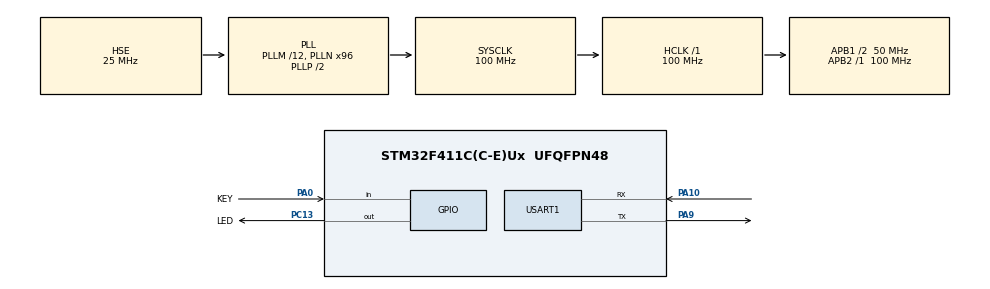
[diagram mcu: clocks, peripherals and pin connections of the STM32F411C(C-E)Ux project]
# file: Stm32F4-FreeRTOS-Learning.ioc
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FREERTOS.Tasks01=defaultTask,24,128,StartDefaultTask,Default,NULL,Dynamic,NULL,NULL
Mcu.Family=STM32F4
Mcu.Name=STM32F411C(C-E)Ux
Mcu.Package=UFQFPN48
NVIC.PriorityGroup=NVIC_PRIORITYGROUP_4
NVIC.TIM1_UP_TIM10_IRQn=true\:15\:0\:false\:false\:true\:false\:false\:true\:true
NVIC.TimeBase=TIM1_UP_TIM10_IRQn
NVIC.TimeBaseIP=TIM1
PA0-WKUP.GPIO_Label=KEY
PA0-WKUP.GPIO_PuPd=GPIO_PULLUP
PA0-WKUP.Signal=GPIO_Input
PA10.Mode=Asynchronous
PA10.Signal=USART1_RX
PA13.Mode=Serial_Wire
PA13.Signal=SYS_JTMS-SWDIO
PA14.Mode=Serial_Wire
PA14.Signal=SYS_JTCK-SWCLK
PA9.Mode=Asynchronous
PA9.Signal=USART1_TX
PC13-ANTI_TAMP.GPIO_Label=LED
PC13-ANTI_TAMP.Signal=GPIO_Output
PC14-OSC32_IN.Mode=LSE-External-Oscillator
PC14-OSC32_IN.Signal=RCC_OSC32_IN
PC15-OSC32_OUT.Mode=LSE-External-Oscillator
PC15-OSC32_OUT.Signal=RCC_OSC32_OUT
PH0\ -\ OSC_IN.Mode=HSE-External-Oscillator
PH0\ -\ OSC_IN.Signal=RCC_OSC_IN
PH1\ -\ OSC_OUT.Mode=HSE-External-Oscillator
PH1\ -\ OSC_OUT.Signal=RCC_OSC_OUT
ProjectManager.HeapSize=0x200
ProjectManager.StackSize=0x400
ProjectManager.TargetToolchain=MDK-ARM V5.32
RCC.48MHZClocksFreq_Value=50000000
RCC.AHBFreq_Value=100000000
RCC.APB1CLKDivider=RCC_HCLK_DIV2
RCC.APB1Freq_Value=50000000
RCC.APB1TimFreq_Value=100000000
RCC.APB2Freq_Value=100000000
RCC.APB2TimFreq_Value=100000000
RCC.CortexFreq_Value=100000000
RCC.HCLKFreq_Value=100000000
RCC.HSE_VALUE=25000000
RCC.HSI_VALUE=16000000
RCC.PLLM=12
RCC.PLLN=96
RCC.PLLSourceVirtual=RCC_PLLSOURCE_HSE
RCC.SYSCLKFreq_VALUE=100000000
RCC.SYSCLKSource=RCC_SYSCLKSOURCE_PLLCLK
RCC.VCOOutputFreq_Value=200000000
USART1.VirtualMode=VM_ASYNC
VP_FREERTOS_VS_CMSIS_V2.Mode=CMSIS_V2
VP_SYS_VS_tim1.Mode=TIM1
board=custom

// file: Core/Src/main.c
/* USER CODE BEGIN Header */
/**
  ******************************************************************************
  * @file           : main.c
  * @brief          : Main program body
  ******************************************************************************
  * @attention
  *
  * Copyright (c) 2026 STMicroelectronics.
  * All rights reserved.
  *
  * This software is licensed under terms that can be found in the LICENSE file
  * in the root directory of this software component.
  * If no LICENSE file comes with this software, it is provided AS-IS.
  *
  ******************************************************************************
  */
/* USER CODE END Header */
#include "main.h"
#include "cmsis_os.h"
#include "usart.h"
#include "gpio.h"

/* USER CODE BEGIN Includes */
#include "DebugUtils.h"
/* USER CODE END Includes */

void SystemClock_Config(void);
void MX_FREERTOS_Init(void);

int main(void)
{

  /* MCU Configuration--------------------------------------------------------*/

  /* Reset of all peripherals, Initializes the Flash interface and the Systick. */
  HAL_Init();

  /* Configure the system clock */
  SystemClock_Config();

  /* Initialize all configured peripherals */
  MX_GPIO_Init();
  MX_USART1_UART_Init();

  /* Init scheduler */
  osKernelInitialize();  /* Call init function for freertos objects (in freertos.c) */

    uart_mutex = xSemaphoreCreateMutex();

  MX_FREERTOS_Init();

  /* Start scheduler */
  osKernelStart();
  /* We should never get here as control is now taken by the scheduler */
  /* Infinite loop */
  while (1)
  {

  }
}

void SystemClock_Config(void)
{
  RCC_OscInitTypeDef RCC_OscInitStruct = {0};
  RCC_ClkInitTypeDef RCC_ClkInitStruct = {0};

  /** Configure the main internal regulator output voltage
  */
  __HAL_RCC_PWR_CLK_ENABLE();
  __HAL_PWR_VOLTAGESCALING_CONFIG(PWR_REGULATOR_VOLTAGE_SCALE1);

  /** Initializes the RCC Oscillators according to the specified parameters
  * in the RCC_OscInitTypeDef structure.
  */
  RCC_OscInitStruct.OscillatorType = RCC_OSCILLATORTYPE_HSE;
  RCC_OscInitStruct.HSEState = RCC_HSE_ON;
  RCC_OscInitStruct.PLL.PLLState = RCC_PLL_ON;
  RCC_OscInitStruct.PLL.PLLSource = RCC_PLLSOURCE_HSE;
  RCC_OscInitStruct.PLL.PLLM = 12;
  RCC_OscInitStruct.PLL.PLLN = 96;
  RCC_OscInitStruct.PLL.PLLP = RCC_PLLP_DIV2;
  RCC_OscInitStruct.PLL.PLLQ = 4;
  if (HAL_RCC_OscConfig(&RCC_OscInitStruct) != HAL_OK)
  {
    Error_Handler();
  }

  /** Initializes the CPU, AHB and APB buses clocks
  */
  RCC_ClkInitStruct.ClockType = RCC_CLOCKTYPE_HCLK|RCC_CLOCKTYPE_SYSCLK
                              |RCC_CLOCKTYPE_PCLK1|RCC_CLOCKTYPE_PCLK2;
  RCC_ClkInitStruct.SYSCLKSource = RCC_SYSCLKSOURCE_PLLCLK;
  RCC_ClkInitStruct.AHBCLKDivider = RCC_SYSCLK_DIV1;
  RCC_ClkInitStruct.APB1CLKDivider = RCC_HCLK_DIV2;
  RCC_ClkInitStruct.APB2CLKDivider = RCC_HCLK_DIV1;

  if (HAL_RCC_ClockConfig(&RCC_ClkInitStruct, FLASH_LATENCY_3) != HAL_OK)
  {
    Error_Handler();
  }
}

void HAL_TIM_PeriodElapsedCallback(TIM_HandleTypeDef *htim)
{
  if (htim->Instance == TIM1) {
    HAL_IncTick();
  }
}

void Error_Handler(void)
{
  __disable_irq();
  while (1)
  {
  }
}

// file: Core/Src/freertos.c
/* USER CODE BEGIN Header */
/**
  ******************************************************************************
  * File Name          : freertos.c
  * Description        : Code for freertos applications
  ******************************************************************************
  * @attention
  *
  * Copyright (c) 2026 STMicroelectronics.
  * All rights reserved.
  *
  * This software is licensed under terms that can be found in the LICENSE file
  * in the root directory of this software component.
  * If no LICENSE file comes with this software, it is provided AS-IS.
  *
  ******************************************************************************
  */
/* USER CODE END Header */

#include "FreeRTOS.h"
#include "task.h"
#include "main.h"
#include "cmsis_os.h"

/* USER CODE BEGIN Includes */
#include "queue.h"
#include "semphr.h"
#include <stdint.h>

#include "KeyLedStateMachine.h"
#include "DebugUtils.h"

/* USER CODE END Includes */

/* USER CODE BEGIN Variables */

QueueHandle_t Queue_Key_Cmd = NULL ;
QueueHandle_t Queue_Cmd_Led = NULL ;

/* USER CODE END Variables */
/* Definitions for defaultTask */
osThreadId_t defaultTaskHandle;
const osThreadAttr_t defaultTask_attributes = {
  .name = "defaultTask",
  .stack_size = 128 * 4,
  .priority = (osPriority_t) osPriorityNormal,
};

/* USER CODE BEGIN FunctionPrototypes */

void KeyTask( void  );
void LedTask( void  );
void KeyCmdTask( void );

/* USER CODE END FunctionPrototypes */

void StartDefaultTask(void *argument);

void MX_FREERTOS_Init(void); /* (MISRA C 2004 rule 8.1) */

void MX_FREERTOS_Init(void) {

  /* USER CODE BEGIN RTOS_QUEUES */
    // communicate between led and key
    Queue_Key_Cmd = xQueueCreate( (UBaseType_t)10, sizeof(uint8_t) );
    if( NULL == Queue_Key_Cmd )
    {
        printf(" Queue_Key_Cmd queue create FAIL! \n ");
    }

    Queue_Cmd_Led = xQueueCreate( (UBaseType_t)10, sizeof(uint8_t) );
    if( NULL == Queue_Cmd_Led )
    {
        printf(" Queue_Cmd_Led queue create FAIL! \n ");
    }

  /* USER CODE END RTOS_QUEUES */

  /* Create the thread(s) */
  /* creation of defaultTask */
  defaultTaskHandle = osThreadNew(StartDefaultTask, NULL, &defaultTask_attributes);

  /* USER CODE BEGIN RTOS_THREADS */
  /* add threads, ... */
    // create tasks
    // 按键状态任务
    BaseType_t  key = xTaskCreate( KeyTask,
                                    " Key control LED ",
                                    1000,
                                    NULL,
                                    1,
                                    NULL );
    if(  pdPASS == key )
    {
        printf("KeyTask create SUCCESS! \n");
    }
    else{
        printf("KeyTask create FAIL! \n");
    }

    // LED 亮灭任务
    BaseType_t Led = xTaskCreate( LedTask,
                                    " LED flash ",
                                    1000,
                                    NULL,
                                    2,
                                    NULL );
    if(  pdPASS == Led )
    {
        printf("LedTask create SUCCESS! \n");
    }
    else{
        printf("LedTask create FAIL! \n");
    }

    // 按键 命令 任务
    BaseType_t KeyCmd = xTaskCreate( KeyCmdTask,
                                    " Key Cmd ",
                                    1000,
                                    NULL,
                                    3,
                                    NULL );
    if(  pdPASS == KeyCmd )
    {
        printf("KeyCmdTask create SUCCESS! \n");
    }
    else{
        printf("KeyCmdTask create FAIL! \n");
    }

  /* USER CODE END RTOS_THREADS */

}

void StartDefaultTask(void *argument)
{
  /* USER CODE BEGIN StartDefaultTask */
  /* Infinite loop */
  for(;;)
  {

        vTaskDelay(500);
  }
  /* USER CODE END StartDefaultTask */
}

/* USER CODE BEGIN Application */

/**
 * @brief Key check function
 *      按键基本的动作分解，分类出不同的按键动作和命令类型：
 *          短按、长按、连按多次等
 *
 * 以电平作为判断或者以状态作为判断
 */
void KeyTask( void  )
{
    DEBUG_PRINT("KeyTask ! \n ") ;       // 该方式会附带详细路径和行号
    for(;;)
    {
        // 时长和次数，基本单元开始
        KeyCMD_t key_cmd_status = eKEY_CMD_IDLE;

        static GPIO_PinState Key_last_level = GPIO_PIN_SET;    /* Key_last_level 必须加 static（或者提升为全局/模块级静态变量），
                                                                否则它在每次进入 for(;;) 循环时都会被重新初始化为 1，
                                                                永远记不住“上一个周期的电平”，按键检测就废了。 */
        static uint8_t key_press_times = 0 ;        // 按键按下次数
        static uint8_t key_gap_ms = 0 ;             // 按键间隔时长
        keyState_t key_last_state = eKEY_IDLE ;
        static uint32_t press_ms = 0 ;

        GPIO_PinState Key_current_level = HAL_GPIO_ReadPin(KEY_GPIO_Port,  KEY_Pin );

        if( GPIO_PIN_SET == (Key_last_level) )      // 上一帧为高电平
        {
            if( Key_current_level == GPIO_PIN_RESET )   // 当前帧为低电平
            {
                // 按键按下
                press_ms = press_ms + 10 ;
                printf(" KEY short press down! \n ");
            }
            else
            {
                // 按键未按下， 或者抖动中
            }
        }
        else                                            // 上一帧为低电平
        {
            vTaskDelay(10);
            if( Key_current_level == GPIO_PIN_RESET )
            {
                // 按键按下中
                press_ms = press_ms + 10 ;
            }
            else                                        // 当前帧为高电平
            {
                vTaskDelay(10);     // 消抖后需要重读电平
                if( GPIO_PIN_SET != HAL_GPIO_ReadPin(KEY_GPIO_Port,  KEY_Pin ) )
                {
                    break;
                }
                // 按键弹起
                press_ms = press_ms + 10 ;
                if(  press_ms >= 0  && press_ms < 1000 )
                {
                    // 短按
                    // printf(" KEY short press! \n ");
                    DEBUG_PRINT("KEY short press! \n ") ;       // 该方式会附带详细路径和行号
                    key_cmd_status = eKEY_CMD_PRESS ;       // 单击
                    xQueueSendToBack( Queue_Key_Cmd, &key_cmd_status , 100 ) ;
                    press_ms = 0 ;

                    key_press_times++;
                    key_gap_ms++;       //  这里如果要精确的计时，需要使用定时器或者是知道时间片长度，否则无法保证 自增一次就是1ms

                    // TODO ... if 判断按键计数次数和间隔时间，得出连按几次的结果

                }else if (press_ms >= 1000  && press_ms < 2000)
                {
                    /* 长按一秒 */
                    key_cmd_status = eKEY_CMD_LONGPRESS ;   // 长按
                    xQueueSendToBack( Queue_Key_Cmd, &key_cmd_status , 100 ) ;
                    printf(" KEY long press 1 second! \n ");
                    press_ms = 0 ;

                }else if(press_ms >= 2000  && press_ms < 3000)
                {
                    /* 长按2 秒 */
                    // TODO ...
                    printf(" KEY long press 2 second! \n ");
                    press_ms = 0 ;
                }else if(press_ms >= 3000 )
                {
                    /* 长按 超过3 秒 */
                    // TODO ...
                    printf(" KEY long press more than 3 second! \n ");
                    press_ms = 0 ;
                }
                // key_press_times++;

            }
        }
        /* 状态更新 */
        Key_last_level =  Key_current_level ;

        // 获取
        // KeyCMD_t key_cmd_status = eKEY_CMD_IDLE;    // 传输命令信息
        // GPIO_PinState Key_level = HAL_GPIO_ReadPin(KEY_GPIO_Port,  KEY_Pin );

        // static uint32_t press_ms = 0 ;

        // switch ( Key_level )        // 按键电平
        // {
        //     case GPIO_PIN_RESET:            // 这个分支的状态机应该可以再优化，否则高电平有毛用？
        //         vTaskDelay(5);
        //         press_ms = press_ms + 5 ;
        //         if( HAL_GPIO_ReadPin(KEY_GPIO_Port,  KEY_Pin ) )
        //         {
        //             if( press_ms < 1000 )
        //             {
        //                 key_cmd_status = eKEY_CMD_PRESS ;       // 单击
        //                 xQueueSendToBack( Queue_Key_Cmd, &key_cmd_status , 100 ) ;
        //             }
        //             else
        //             {
        //                 key_cmd_status = eKEY_CMD_LONGPRESS ;   // 长按
        //                 xQueueSendToBack( Queue_Key_Cmd, &key_cmd_status , 100 ) ;
        //             }
        //             press_ms = 0;
        //         }
        //         break;

        //     case GPIO_PIN_SET:
        //         // if( press_ms < 1000 )
        //         // {
        //         //     key_cmd_status = eKEY_CMD_PRESS ;
        //         //     xQueueSendToBack( Queue_Key_Cmd, &key_cmd_status , 100 ) ;
        //         // }
        //         // else
        //         // {
        //         //     key_cmd_status = eKEY_CMD_LONGPRESS ;
        //         //     xQueueSendToBack( Queue_Key_Cmd, &key_cmd_status , 100 ) ;
        //         // }
        //         // press_ms = 0;
        //         break;

        //     default:
        //         break;
        // }

    }
}

/**
 * @brief  按键命令类型，不同的按键命令执行不同的任务
 *
 */
void KeyCmdTask( void )
{
    DEBUG_PRINT("KeyCmdTask ! \n ") ;       // 该方式会附带详细路径和行号
    for(;;)
    {
        BaseType_t key_status  =  0 ;
        KeyCMD_t key_cmd_status = eKEY_IDLE ;     // 这里的指针似乎有问题

        key_status = xQueueReceive( Queue_Key_Cmd, &key_cmd_status, 100 );
        if( pdPASS != key_status )
        {
            // printf(" Could not Receive data from KEY_CMD !\n");
        }

        xQueueSendToBack( Queue_Cmd_Led, (uint8_t *)&key_cmd_status, 10 );

        // switch ( key_cmd_status )       // 这个状态机似乎没有用啊，一样的操作，有用，健壮性，idle 状态
        // {
        //     case eKEY_CMD_PRESS:
        //         xQueueSendToBack( Queue_Cmd_Led, (uint8_t *)&key_cmd_status, 10 );
        //         break;

        //     case eKEY_CMD_LONGPRESS:
        //         xQueueSendToBack( Queue_Cmd_Led, (uint8_t *)&key_cmd_status, 10 );
        //         break;

        //     default:
        //         break;
        // }
    }
}

/**
 * @brief LED  flash function
 *
 */
void LedTask( void  )
{
    DEBUG_PRINT("LedTask ! \n ") ;       // 该方式会附带详细路径和行号
    for(;;)
    {
        BaseType_t led_status  =  0 ;
        KeyCMD_t key_cmd_status = eKEY_CMD_IDLE ;     // 这里的指针似乎有问题
        led_status = xQueueReceive( Queue_Cmd_Led, &key_cmd_status, 100 );
        if( led_status != pdPASS )
        {
            // printf(" Could not Receive data from KEY !\n");
        }
        switch( key_cmd_status )
        {

            case eKEY_CMD_PRESS :
                // printf("LedTask is running! \n");       // 为什么不打印？
                HAL_GPIO_TogglePin( LED_GPIO_Port ,  LED_Pin);
                break;

            case eKEY_CMD_LONGPRESS :
                LedToggleSeveralTimes(3);
                break ;

            default:
                break;
        }
    }
}

/* USER CODE END Application */
